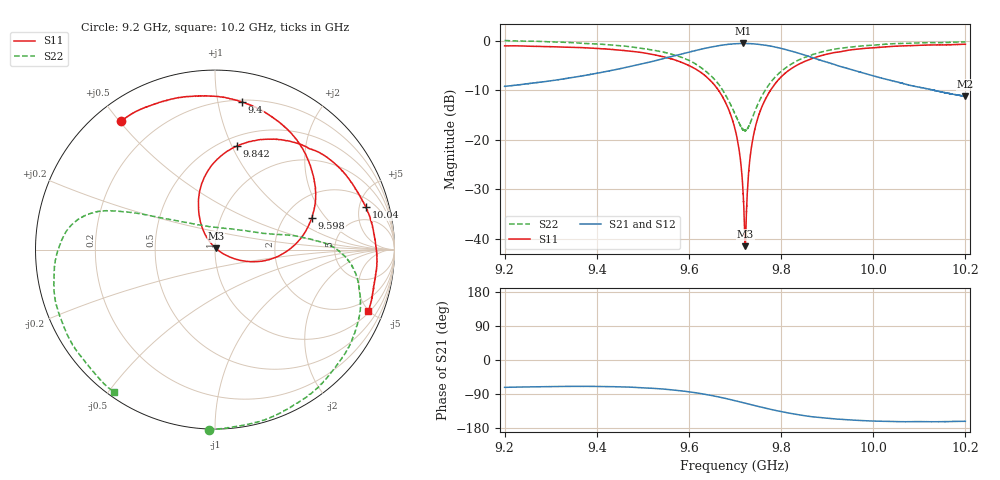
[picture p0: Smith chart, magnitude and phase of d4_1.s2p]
!Agilent Technologies,N5242A,MY51221714,A.09.90.19
!Agilent N5242A: A.09.90.19
!Date: Friday, February 02, 2024 13:14:44
!Correction: S11(Full 2 Port(1,2))
!S21(Full 2 Port(1,2))
!S12(Full 2 Port(1,2))
!S22(Full 2 Port(1,2))
!S2P File: Measurements: S11, S21, S12, S22:
# Hz S  dB  R 50
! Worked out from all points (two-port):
!   16001 points, 9.2 GHz to 10.2 GHz, reference 50 ohm
!   highest |S21| = -0.56 dB at 9.717 GHz (marker M1); lowest = -11.3 dB at 10.2 GHz (marker M2)
!   |S21| within 3 dB of the highest: 9.546358 GHz to 9.546542 GHz (184.1 kHz wide, 0.00193 % of centre); 9.547 GHz to 9.873 GHz (326 MHz wide, 3.36 % of centre)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
!   lowest |S11| = -41.5 dB at 9.722 GHz (marker M3), VSWR 1.02, Z = 50.5 + j0.647 ohm
!   |S11| at or under -10 dB: 9.664 GHz to 9.777 GHz (113 MHz wide, 1.16 % of centre)
!   |S22| runs from -18.2 to 0.0 dB; largest |S21 - S12| = 0.025
!   S11 on the Smith chart (normalised r, x): 9.2 GHz: 0.08, +0.50; 9.4 GHz: 0.22, +1.18; 9.598 GHz: 2.79, +1.44; 9.842 GHz: 0.59, +1.05; 10.04 GHz: 2.92, +5.83; 10.2 GHz: 1.10, -4.94
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9.2e9  -1.04 126.3  -9.23 -72.1  -9.20 -73.5  0.03 -92.0
9.366688e9  -1.40 87.8  -7.12 -69.6  -7.11 -70.9  -0.51 -46.7
9.399562e9  -1.57 79.5  -6.59 -69.8  -6.56 -71.1  -0.66 -38.2
9.533375e9  -3.01 41.3  -3.88 -75.7  -3.86 -76.8  -2.09 -8.7
9.597875e9  -4.93 18.1  -2.37 -83.5  -2.34 -84.8  -3.88 2.2
9.661812e9  -9.70 -8.6  -1.05 -96.8  -1.03 -98.1  -8.48 12.8
9.7e9  -17.83 -24.5  -0.62 -107.4  -0.60 -108.7  -14.79 36.2
9.710938e9  -23.38 -26.9  -0.57 -110.6  -0.54 -112.0  -17.03 55.4
9.717438e9  -30.43 -22.1  -0.56 -112.5  -0.53 -113.9  -17.97 71.6
9.72225e9  -41.50 49.6  -0.56 -114.0  -0.53 -115.4  -18.19 86.4
9.725125e9  -34.03 111.2  -0.57 -114.9  -0.54 -116.3  -18.01 95.2
9.7305e9  -25.70 124.0  -0.59 -116.5  -0.56 -117.9  -17.12 109.5
9.735688e9  -21.54 124.3  -0.61 -118.0  -0.57 -119.5  -16.02 120.6
9.754e9  -14.39 116.3  -0.76 -123.5  -0.74 -125.0  -11.96 141.3
9.790438e9  -8.30 100.4  -1.35 -133.7  -1.34 -135.1  -7.02 153.8
9.841938e9  -4.58 78.0  -2.62 -145.2  -2.61 -146.5  -3.75 160.6
9.866688e9  -3.62 68.1  -3.36 -149.6  -3.34 -150.9  -2.86 163.7
9.941188e9  -2.00 42.7  -5.53 -157.4  -5.51 -158.8  -1.40 175.8
1.003338e10  -1.20 16.4  -7.91 -162.0  -7.89 -163.4  -0.67 -165.4
1.003606e10  -1.17 15.7  -7.97 -162.2  -7.95 -163.5  -0.64 -164.8
1.019981e10  -0.72 -21.8  -11.25 -161.7  -11.23 -163.1  -0.24 -125.4
1.02e10  -0.72 -21.9  -11.25 -161.7  -11.22 -163.1  -0.24 -125.3
